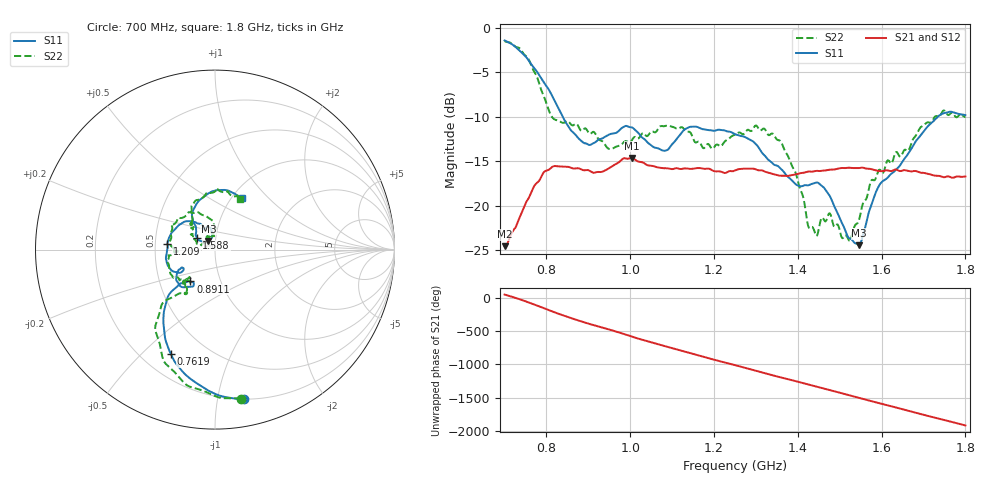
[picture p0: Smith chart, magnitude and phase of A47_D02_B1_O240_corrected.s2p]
! Created with skrf 1.9.0 (http://scikit-rf.org).
# Hz S RI R 50.0
!freq ReS11 ImS11 ReS21 ImS21 ReS12 ImS12 ReS22 ImS22
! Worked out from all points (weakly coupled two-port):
!   1601 points, 700 MHz to 1.8 GHz, reference 50 ohm
!   highest |S21| = -14.63 dB at 1.005 GHz (marker M1); lowest = -24.6 dB at 700.7 MHz (marker M2)
!   lowest |S11| = -24.5 dB at 1.546 GHz (marker M3), VSWR 1.13, Z = 46.3 + j4.42 ohm
!   |S11| at or under -10 dB: 838.8 MHz to 1.734 GHz (895.1 MHz wide, 69.6 % of centre)
!   |S22| runs from -24.0 to -1.5 dB; largest |S21 - S12| = 0.0035
!   S11 on the Smith chart (normalised r, x): 700 MHz: 0.20, -1.19; 761.9 MHz: 0.32, -0.62; 891.1 MHz: 0.72, -0.27; 1.209 GHz: 0.58, +0.04; 1.588 GHz: 0.81, +0.11; 1.8 GHz: 1.12, +0.71
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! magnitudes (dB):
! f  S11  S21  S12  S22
! 700 MHz  -1.4  -24.6  -24.4  -1.5
! 700.7 MHz  -1.4  -24.6  -24.3  -1.5
! 761.9 MHz  -4.0  -18.7  -18.7  -4.0
! 814.1 MHz  -7.7  -15.6  -15.7  -10.1
! 883.6 MHz  -12.7  -16.0  -15.8  -11.6
! 891.1 MHz  -13.0  -16.0  -16.0  -11.3
! 950.9 MHz  -12.0  -15.7  -15.8  -13.6
! 1.005 GHz  -11.2  -14.6  -14.8  -12.6
! 1.067 GHz  -13.6  -15.7  -15.7  -11.3
! 1.141 GHz  -11.2  -15.9  -15.8  -11.7
! 1.209 GHz  -11.5  -16.1  -16.2  -13.2
! 1.25 GHz  -12.0  -16.1  -16.0  -12.0
! 1.3 GHz  -13.1  -15.9  -15.9  -11.0
! 1.359 GHz  -15.8  -16.6  -16.6  -12.8
! 1.434 GHz  -17.6  -16.2  -16.1  -22.4
! 1.476 GHz  -18.9  -16.0  -16.0  -20.9
! 1.523 GHz  -23.7  -15.7  -15.7  -23.9
! 1.546 GHz  -24.5  -15.8  -15.7  -21.6
! 1.588 GHz  -18.4  -16.0  -16.0  -16.7
! 1.617 GHz  -16.7  -16.1  -16.0  -15.0
! 1.737 GHz  -9.9  -16.7  -16.7  -10.0
! 1.8 GHz  -9.8  -16.7  -16.7  -10.0
